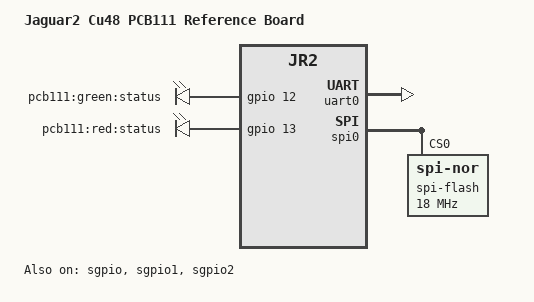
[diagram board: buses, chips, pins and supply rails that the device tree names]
// SPDX-License-Identifier: (GPL-2.0+ OR MIT)
/*
 * Copyright (c) 2018 Microsemi Corporation
 */

/dts-v1/;
#include "mscc,jr2.dtsi"

/ {
	model = "Jaguar2 Cu48 PCB111 Reference Board";
	compatible = "mscc,jr2-pcb111", "mscc,jr2";

	aliases {
		spi0 = &spi0;
		serial0 = &uart0;
	};

	chosen {
		stdout-path = "serial0:115200n8";
	};

	gpio-leds {
		compatible = "gpio-leds";

		status_green {
			label = "pcb111:green:status";
			gpios = <&gpio 12 0>;
			default-state = "on";
		};

		status_red {
			label = "pcb111:red:status";
			gpios = <&gpio 13 0>;
			default-state = "off";
		};
	};
};

&uart0 {
	status = "okay";
};

&spi0 {
	status = "okay";
	spi-flash@0 {
		compatible = "jedec,spi-nor";
		spi-max-frequency = <18000000>; /* input clock */
		reg = <0>; /* CS0 */
	};
};

&gpio {
	/* SPIO only use DO, CLK, no inputs */
	sgpio1_pins: sgpio1-pins {
		pins = "GPIO_4", "GPIO_5";
		function = "sg1";
	};
};

&sgpio {
	status = "okay";
	sgpio-ports = <0xffffffff>;
};

&sgpio1 {
	status = "okay";
	sgpio-ports = <0x001effff>;
};

&sgpio2 {
	status = "okay";
	sgpio-ports = <0xff000000>;
	gpio-ranges = <&sgpio2 0 0 96>;
};
